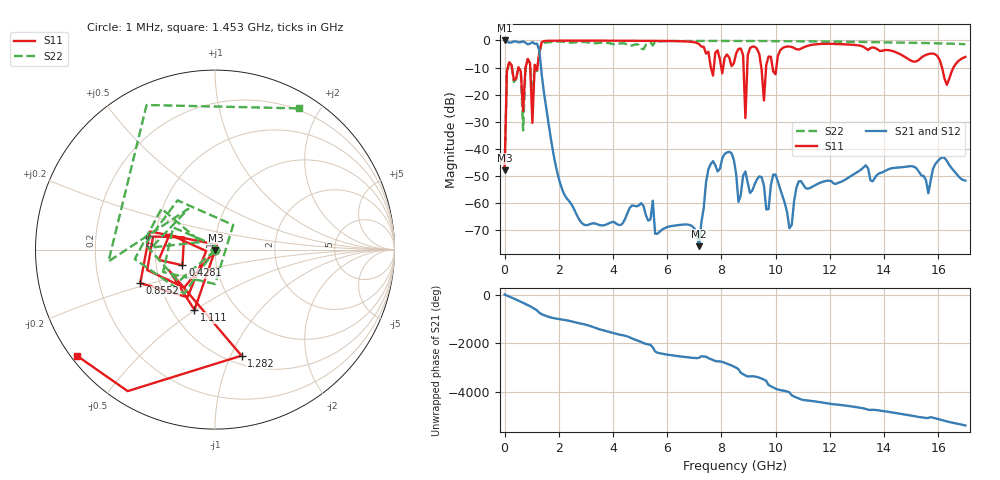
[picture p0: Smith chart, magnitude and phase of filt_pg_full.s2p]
# GHz S RI R 50
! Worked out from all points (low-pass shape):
!   200 points, 1 MHz to 17 GHz, reference 50 ohm
!   highest |S21| = -0.02 dB at 1 MHz (marker M1); lowest = -75.9 dB at 7.176 GHz (marker M2)
!   |S21| within 3 dB of the highest: start of sweep to 1.259 GHz
!   lowest |S11| = -48.0 dB at 1 MHz (marker M3), VSWR 1.01, Z = 50.2 - j0.351 ohm
!   |S11| at or under -10 dB: 517.3 MHz to 776.5 MHz (259.2 MHz wide, 40.1 % of centre); 9.887 GHz to 10.03 GHz (139.7 MHz wide, 1.4 % of centre); 16.14 GHz to 16.56 GHz (423.6 MHz wide, 2.59 % of centre)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
!   |S22| runs from -48.0 to -0.2 dB; largest |S21 - S12| = 4.1e-13
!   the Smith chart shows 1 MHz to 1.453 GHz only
!   S11 on the Smith chart (normalised r, x): 1 MHz: 1.00, -0.01; 428.1 MHz: 0.68, -0.12; 855.2 MHz: 0.39, -0.18; 1.111 GHz: 0.65, -0.50; 1.282 GHz: 0.58, -1.10; 1.453 GHz: 0.02, -0.34
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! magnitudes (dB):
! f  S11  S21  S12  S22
! 1 MHz  -48.0  0.0  0.0  -48.0
! 86.42 MHz  -11.3  -0.4  -0.4  -11.3
! 428.1 MHz  -13.9  -0.4  -0.4  -14.3
! 684.4 MHz  -26.1  -0.4  -0.4  -33.2
! 855.2 MHz  -6.8  -1.5  -1.5  -6.9
! 1.026 GHz  -30.4  -0.6  -0.6  -21.0
! 1.111 GHz  -9.0  -1.3  -1.3  -9.0
! 1.282 GHz  -4.3  -3.7  -3.7  -4.5
! 1.453 GHz  -0.3  -19.3  -19.3  -0.8
! 2.905 GHz  -0.1  -67.9  -67.9  -0.6
! 5.724 GHz  -0.2  -70.5  -70.5  -0.3
! 7.176 GHz  -1.4  -75.9  -75.9  -0.2
! 7.604 GHz  -9.7  -45.6  -45.6  -0.2
! 8.543 GHz  -4.8  -49.3  -49.3  -0.2
! 8.799 GHz  -5.4  -49.9  -49.9  -0.2
! 8.885 GHz  -28.7  -48.4  -48.4  -0.2
! 9.056 GHz  -2.9  -56.3  -56.3  -0.2
! 9.568 GHz  -22.2  -53.5  -53.5  -0.2
! 10.51 GHz  -2.3  -69.3  -69.3  -0.3
! 11.36 GHz  -1.6  -53.9  -53.9  -0.4
! 14.18 GHz  -3.6  -47.5  -47.5  -0.7
! 17 GHz  -6.1  -51.7  -51.7  -1.4
